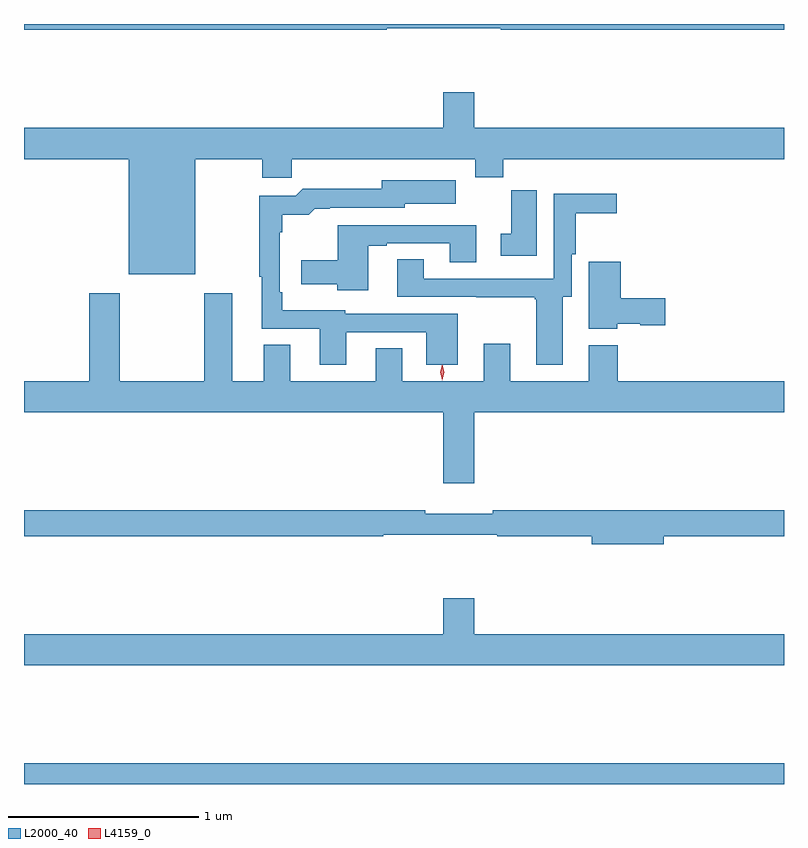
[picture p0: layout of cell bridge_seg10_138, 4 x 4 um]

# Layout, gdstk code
import gdstk
lib = gdstk.Library(unit=1e-6, precision=1e-09)
def R(c, l, rs):  # rectangles x0, y0, x1, y1
    for r in rs: c.add(gdstk.rectangle(r[:2], r[2:], *l))
def P(c, l, *ps):  # polygons
    for p in ps: c.add(gdstk.Polygon(p, *l))
L2000_40 = (2000, 40)
L4159_0 = (4159, 0)

bridge_seg10_138 = lib.new_cell('bridge_seg10_138')
R(bridge_seg10_138, L2000_40, [(342.621,1314.343,346.621,1314.452)])
P(bridge_seg10_138, L2000_40, [(344.53,1318.32),(345.13,1318.32),(345.13,1318.312),(346.621,1318.312),(346.621,1318.343),(342.621,1318.343),(342.621,1318.312),(344.53,1318.312)],
  [(343.522,1317.632),(343.876,1317.632),(343.876,1317.534),(344.031,1317.534),(344.031,1317.632),(344.996,1317.632),(344.996,1317.537),(345.143,1317.537),(345.143,1317.632),(346.621,1317.632),(346.621,1317.796),(344.992,1317.796),(344.992,1317.985),(344.828,1317.985),(344.828,1317.796),(342.621,1317.796),(342.621,1317.632),(343.172,1317.632),(343.172,1317.026),(343.522,1317.026)],
  [(344.317,1316.721),(344.738,1316.721),(344.738,1316.55),(344.905,1316.55),(344.905,1316.817),(344.313,1316.817),(344.313,1316.836),(343.981,1316.836),(343.981,1316.932),(343.968,1316.932),(343.968,1317.248),(343.981,1317.248),(343.981,1317.34),(344.12,1317.34),(344.151,1317.371),(344.23,1317.371),(344.23,1317.375),(344.625,1317.375),(344.625,1317.398),(344.893,1317.398),(344.893,1317.52),(344.504,1317.52),(344.504,1317.475),(344.089,1317.475),(344.052,1317.438),(343.86,1317.438),(343.86,1317.013),(343.871,1317.013),(343.871,1316.739),(344.177,1316.739),(344.177,1316.55),(344.317,1316.55)],
  [(345.319,1317.467),(345.185,1317.467),(345.185,1317.24),(345.129,1317.24),(345.129,1317.122),(345.319,1317.122)],
  [(345.457,1316.907),(345.504,1316.907),(345.504,1317.132),(345.524,1317.132),(345.524,1317.346),(345.742,1317.346),(345.742,1317.449),(345.408,1317.449),(345.408,1317.003),(344.725,1317.003),(344.725,1317.104),(344.585,1317.104),(344.585,1316.907),(345.001,1316.907),(345.001,1316.905),(345.31,1316.905),(345.31,1316.895),(345.317,1316.895),(345.317,1316.55),(345.457,1316.55)],
  [(344.434,1317.177),(344.53,1317.177),(344.53,1317.189),(344.861,1317.189),(344.861,1317.088),(345.001,1317.088),(345.001,1317.285),(344.273,1317.285),(344.273,1317.1),(344.079,1317.1),(344.079,1316.972),(344.269,1316.972),(344.269,1316.942),(344.434,1316.942)],
  [(345.744,1316.765),(345.864,1316.765),(345.864,1316.758),(345.997,1316.758),(345.997,1316.9),(345.761,1316.9),(345.761,1317.091),(345.593,1317.091),(345.593,1316.738),(345.744,1316.738)],
  [(344.992,1316.3),(346.621,1316.3),(346.621,1316.464),(345.746,1316.464),(345.746,1316.653),(345.593,1316.653),(345.593,1316.464),(345.181,1316.464),(345.181,1316.659),(345.041,1316.659),(345.041,1316.464),(344.611,1316.464),(344.611,1316.636),(344.471,1316.636),(344.471,1316.464),(344.023,1316.464),(344.023,1316.654),(343.883,1316.654),(343.883,1316.464),(343.717,1316.464),(343.717,1316.926),(343.57,1316.926),(343.57,1316.464),(343.125,1316.464),(343.125,1316.926),(342.965,1316.926),(342.965,1316.464),(342.621,1316.464),(342.621,1316.3),(344.828,1316.3),(344.828,1315.926),(344.992,1315.926)],
  [(345.988,1315.648),(346.621,1315.648),(346.621,1315.784),(345.088,1315.784),(345.088,1315.765),(344.732,1315.765),(344.732,1315.784),(342.621,1315.784),(342.621,1315.648),(344.512,1315.648),(344.512,1315.656),(345.112,1315.656),(345.112,1315.648),(345.608,1315.648),(345.608,1315.606),(345.988,1315.606)],
  [(346.621,1315.132),(344.992,1315.132),(344.992,1315.321),(344.828,1315.321),(344.828,1315.132),(342.621,1315.132),(342.621,1314.968),(346.621,1314.968)])
P(bridge_seg10_138, L4159_0, [(344.823,1316.467),(344.823,1316.468),(344.813,1316.509),(344.823,1316.55),(344.823,1316.55),(344.823,1316.55),(344.833,1316.509),(344.823,1316.468)])

lib.write_gds('bridge_seg10_138.gds')
